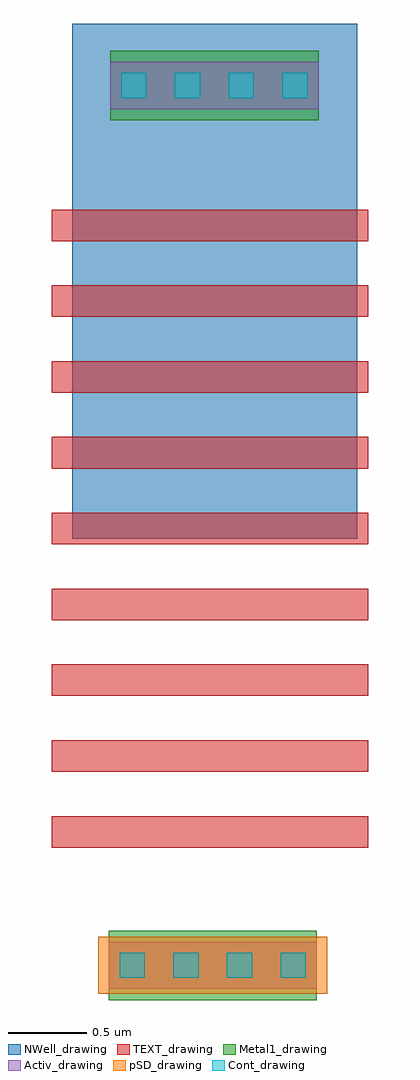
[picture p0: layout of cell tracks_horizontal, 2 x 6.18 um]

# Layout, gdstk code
import gdstk
lib = gdstk.Library(unit=1e-6, precision=1e-09)
def R(c, l, rs):  # rectangles x0, y0, x1, y1
    for r in rs: c.add(gdstk.rectangle(r[:2], r[2:], *l))
def A(c, l, x, y, w, h, nx, ny, dx, dy):  # array of equal rectangles
    R(c, l, [(x+i*dx, y+j*dy, x+i*dx+w, y+j*dy+h) for i in range(nx) for j in range(ny)])
Activ_drawing = (1, 0)
Cont_drawing = (6, 0)
Metal1_drawing = (8, 0)
pSD_drawing = (14, 0)
NWell_drawing = (31, 0)
TEXT_drawing = (63, 0)

tracks_horizontal = lib.new_cell('tracks_horizontal')
R(tracks_horizontal, Activ_drawing, [(0.365,0.05,1.685,0.35), (0.375,5.62,1.695,5.92)])
A(tracks_horizontal, Cont_drawing, 0.435, 0.12, 0.16, 0.16, 4, 1, 0.34, 0)
A(tracks_horizontal, Cont_drawing, 0.445, 5.69, 0.16, 0.16, 4, 1, 0.34, 0)
R(tracks_horizontal, Metal1_drawing, [(0.385,0.12,1.665,0.28), (0.395,5.69,1.675,5.85)])
R(tracks_horizontal, pSD_drawing, [(0.3,0.02,1.75,0.38)])
R(tracks_horizontal, NWell_drawing, [(0.135,2.9,1.94,6.16)])
tracks_horizontal.add(gdstk.FlexPath([(0.365,0.2),(1.685,0.2)], 0.44, ends="flush", simple_path=True, layer=8, datatype=0))  # Metal1_drawing
tracks_horizontal.add(gdstk.FlexPath([(0.375,5.77),(1.695,5.77)], 0.44, ends="flush", simple_path=True, layer=8, datatype=0))  # Metal1_drawing
tracks_horizontal.add(gdstk.FlexPath([(2.01,2.485),(0.005,2.485)], 0.2, ends="flush", simple_path=True, layer=63, datatype=0))  # TEXT_drawing
tracks_horizontal.add(gdstk.FlexPath([(0.005,2.005),(2.01,2.005),(2.01,2.005)], 0.2, ends="flush", simple_path=True, layer=63, datatype=0))  # TEXT_drawing
tracks_horizontal.add(gdstk.FlexPath([(0.005,2.965),(2.01,2.965),(2.01,2.965)], 0.2, ends="flush", simple_path=True, layer=63, datatype=0))  # TEXT_drawing
tracks_horizontal.add(gdstk.FlexPath([(0.005,2.485),(2.01,2.485),(2.01,2.485)], 0.2, ends="flush", simple_path=True, layer=63, datatype=0))  # TEXT_drawing
tracks_horizontal.add(gdstk.FlexPath([(2.01,1.525),(0.005,1.525)], 0.2, ends="flush", simple_path=True, layer=63, datatype=0))  # TEXT_drawing
tracks_horizontal.add(gdstk.FlexPath([(0.005,1.045),(2.01,1.045),(2.01,1.045)], 0.2, ends="flush", simple_path=True, layer=63, datatype=0))  # TEXT_drawing
tracks_horizontal.add(gdstk.FlexPath([(0.005,1.525),(2.01,1.525),(2.01,1.525)], 0.2, ends="flush", simple_path=True, layer=63, datatype=0))  # TEXT_drawing
tracks_horizontal.add(gdstk.FlexPath([(2.01,2.965),(0.005,2.965)], 0.2, ends="flush", simple_path=True, layer=63, datatype=0))  # TEXT_drawing
tracks_horizontal.add(gdstk.FlexPath([(0.005,3.925),(2.01,3.925),(2.01,3.925)], 0.2, ends="flush", simple_path=True, layer=63, datatype=0))  # TEXT_drawing
tracks_horizontal.add(gdstk.FlexPath([(0.005,4.405),(2.01,4.405),(2.01,4.405)], 0.2, ends="flush", simple_path=True, layer=63, datatype=0))  # TEXT_drawing
tracks_horizontal.add(gdstk.FlexPath([(0.005,3.445),(2.01,3.445),(2.01,3.445)], 0.2, ends="flush", simple_path=True, layer=63, datatype=0))  # TEXT_drawing
tracks_horizontal.add(gdstk.FlexPath([(2.01,3.925),(0.005,3.925)], 0.2, ends="flush", simple_path=True, layer=63, datatype=0))  # TEXT_drawing
tracks_horizontal.add(gdstk.FlexPath([(0.005,4.405),(2.01,4.405),(2.01,4.405)], 0.2, ends="flush", simple_path=True, layer=63, datatype=0))  # TEXT_drawing
tracks_horizontal.add(gdstk.FlexPath([(0.005,4.885),(2.01,4.885),(2.01,4.885)], 0.2, ends="flush", simple_path=True, layer=63, datatype=0))  # TEXT_drawing

lib.write_gds('tracks_horizontal.gds')
